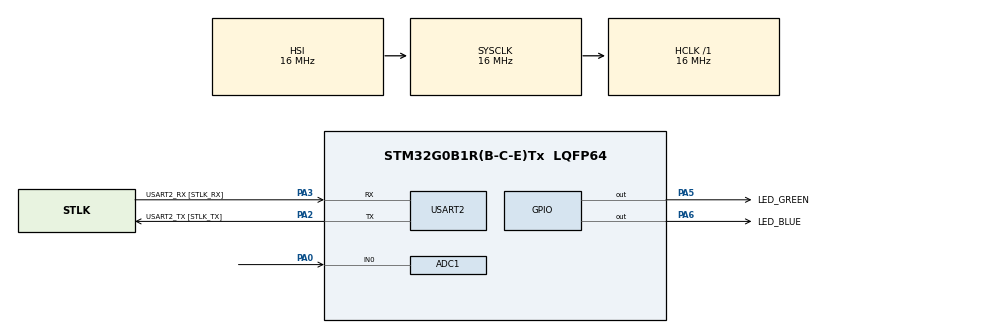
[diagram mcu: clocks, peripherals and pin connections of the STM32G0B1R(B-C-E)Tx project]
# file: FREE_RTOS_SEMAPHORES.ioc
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ADC1.Channel-0\#ChannelRegularConversion=ADC_CHANNEL_0
ADC1.ContinuousConvMode=ENABLE
ADC1.NbrOfConversionFlag=1
ADC1.Rank-0\#ChannelRegularConversion=1
ADC1.Resolution=ADC_RESOLUTION_10B
ADC1.SamplingTime-0\#ChannelRegularConversion=ADC_SAMPLINGTIME_COMMON_1
ADC1.SelectedChannel=ADC_CHANNEL_0
ADC1.master=1
FREERTOS.Tasks01=defaultTask,24,128,StartDefaultTask,Default,NULL,Dynamic,NULL,NULL
FREERTOS.configUSE_NEWLIB_REENTRANT=1
Mcu.Family=STM32G0
Mcu.Name=STM32G0B1R(B-C-E)Tx
Mcu.Package=LQFP64
NVIC.TIM1_BRK_UP_TRG_COM_IRQn=true\:3\:0\:false\:false\:true\:false\:false\:true\:true
NVIC.TimeBase=TIM1_BRK_UP_TRG_COM_IRQn
NVIC.TimeBaseIP=TIM1
PA0.Mode=IN0
PA0.Signal=ADC1_IN0
PA13.GPIO_Label=TMS
PA13.Mode=Serial_Wire
PA13.Signal=SYS_SWDIO
PA14-BOOT0.GPIO_Label=TCK
PA14-BOOT0.Mode=Serial_Wire
PA14-BOOT0.Signal=SYS_SWCLK
PA2.GPIO_Label=USART2_TX [STLK_TX]
PA2.Mode=Asynchronous
PA2.Signal=USART2_TX
PA3.GPIO_Label=USART2_RX [STLK_RX]
PA3.Mode=Asynchronous
PA3.Signal=USART2_RX
PA5.GPIO_Label=LED_GREEN
PA5.GPIO_Speed=GPIO_SPEED_FREQ_HIGH
PA5.Signal=GPIO_Output
PA6.GPIO_Label=LED_BLUE
PA6.Signal=GPIO_Output
PC13.Mode=SYS_WakeUp1
PC13.Signal=SYS_WKUP2
PC14-OSC32_IN\ (PC14).Mode=LSE-External-Oscillator
PC14-OSC32_IN\ (PC14).Signal=RCC_OSC32_IN
PC15-OSC32_OUT\ (PC15).Mode=LSE-External-Oscillator
PC15-OSC32_OUT\ (PC15).Signal=RCC_OSC32_OUT
PF0-OSC_IN\ (PF0).GPIO_Label=MCO
PF0-OSC_IN\ (PF0).Mode=HSE-External-Clock-Source
PF0-OSC_IN\ (PF0).Signal=RCC_OSC_IN
ProjectManager.HeapSize=0x200
ProjectManager.StackSize=0x400
ProjectManager.TargetToolchain=STM32CubeIDE
RCC.AHBFreq_Value=16000000
RCC.CortexFreq_Value=16000000
RCC.EXTERNAL_CLOCK_VALUE=12288000
RCC.HCLKFreq_Value=16000000
RCC.HSE_VALUE=8000000
RCC.HSI48_VALUE=48000000
RCC.HSI_VALUE=16000000
RCC.SYSCLKFreq_VALUE=16000000
RCC.USBFreq_Value=48000000
RCC.VCOOutputFreq_Value=128000000
USART2.VirtualMode-Asynchronous=VM_ASYNC
VP_FREERTOS_VS_CMSIS_V2.Mode=CMSIS_V2
VP_SYS_VS_tim1.Mode=TIM1
board=NUCLEO-G0B1RE

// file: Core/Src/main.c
/* USER CODE BEGIN Header */
/**
  ******************************************************************************
  * @file           : main.c
  * @brief          : Main program body
  ******************************************************************************
  * @attention
  *
  * Copyright (c) 2024 STMicroelectronics.
  * All rights reserved.
  *
  * This software is licensed under terms that can be found in the LICENSE file
  * in the root directory of this software component.
  * If no LICENSE file comes with this software, it is provided AS-IS.
  *
  ******************************************************************************
  */
/* USER CODE END Header */
#include "main.h"
#include "cmsis_os.h"

/* USER CODE BEGIN Includes */
#include "semphr.h"
/* USER CODE END Includes */

ADC_HandleTypeDef hadc1;

UART_HandleTypeDef huart2;

/* Definitions for defaultTask */
osThreadId_t defaultTaskHandle;
const osThreadAttr_t defaultTask_attributes = {
  .name = "defaultTask",
  .priority = (osPriority_t) osPriorityNormal,
  .stack_size = 128 * 4
};
/* USER CODE BEGIN PV */
osThreadId_t taskOneHandle;
const osThreadAttr_t taskOne_attributes = {
  .name = "TaskOne",
  .priority = (osPriority_t) osPriorityNormal,
  .stack_size = 128 * 4
};

osThreadId_t taskTwoHandle;
const osThreadAttr_t taskTwo_attributes = {
  .name = "taskTwo",
  .priority = (osPriority_t) osPriorityHigh,
  .stack_size = 128 * 4
};

/* USER CODE END PV */

void SystemClock_Config(void);
static void MX_GPIO_Init(void);
static void MX_USART2_UART_Init(void);
static void MX_ADC1_Init(void);
void StartDefaultTask(void *argument);

/* USER CODE BEGIN PFP */
void StartTaskOne(void *argument);
void StartTaskTwo(void *argument);

typedef uint32_t TaskProfiler;
TaskProfiler taskOneProfiler;
TaskProfiler taskTwoProfiler;
TaskProfiler taskDefaultProfiler;
SemaphoreHandle_t xBinarySemaphore;

/* USER CODE END PFP */

int main(void)
{

  /* MCU Configuration--------------------------------------------------------*/

  /* Reset of all peripherals, Initializes the Flash interface and the Systick. */
  HAL_Init();

  /* Configure the system clock */
  SystemClock_Config();

  /* Initialize all configured peripherals */
  MX_GPIO_Init();
  MX_USART2_UART_Init();
  MX_ADC1_Init();
  /* USER CODE BEGIN 2 */

  // create semaphore
  xBinarySemaphore = xSemaphoreCreateBinary();

  /* USER CODE END 2 */

  /* Init scheduler */
  osKernelInitialize();

  /* Create the thread(s) */
  /* creation of defaultTask */
  defaultTaskHandle = osThreadNew(StartDefaultTask, NULL, &defaultTask_attributes);

  /* USER CODE BEGIN RTOS_THREADS */
  taskOneHandle = osThreadNew(StartTaskOne, NULL, &taskOne_attributes);

//  taskTwoHandle = osThreadNew(StartTaskTwo, NULL, &taskTwo_attributes);

  /* add threads, ... */
  /* USER CODE END RTOS_THREADS */

  /* Start scheduler */
  osKernelStart();

  /* We should never get here as control is now taken by the scheduler */
  /* Infinite loop */
  while (1)
  {

  }
}

void SystemClock_Config(void)
{
  RCC_OscInitTypeDef RCC_OscInitStruct = {0};
  RCC_ClkInitTypeDef RCC_ClkInitStruct = {0};

  /** Configure the main internal regulator output voltage
  */
  HAL_PWREx_ControlVoltageScaling(PWR_REGULATOR_VOLTAGE_SCALE1);

  /** Initializes the RCC Oscillators according to the specified parameters
  * in the RCC_OscInitTypeDef structure.
  */
  RCC_OscInitStruct.OscillatorType = RCC_OSCILLATORTYPE_HSI;
  RCC_OscInitStruct.HSIState = RCC_HSI_ON;
  RCC_OscInitStruct.HSIDiv = RCC_HSI_DIV1;
  RCC_OscInitStruct.HSICalibrationValue = RCC_HSICALIBRATION_DEFAULT;
  RCC_OscInitStruct.PLL.PLLState = RCC_PLL_NONE;
  if (HAL_RCC_OscConfig(&RCC_OscInitStruct) != HAL_OK)
  {
    Error_Handler();
  }

  /** Initializes the CPU, AHB and APB buses clocks
  */
  RCC_ClkInitStruct.ClockType = RCC_CLOCKTYPE_HCLK|RCC_CLOCKTYPE_SYSCLK
                              |RCC_CLOCKTYPE_PCLK1;
  RCC_ClkInitStruct.SYSCLKSource = RCC_SYSCLKSOURCE_HSI;
  RCC_ClkInitStruct.AHBCLKDivider = RCC_SYSCLK_DIV1;
  RCC_ClkInitStruct.APB1CLKDivider = RCC_HCLK_DIV1;

  if (HAL_RCC_ClockConfig(&RCC_ClkInitStruct, FLASH_LATENCY_0) != HAL_OK)
  {
    Error_Handler();
  }
}

static void MX_ADC1_Init(void)
{

  ADC_ChannelConfTypeDef sConfig = {0};

  /** Configure the global features of the ADC (Clock, Resolution, Data Alignment and number of conversion)
  */
  hadc1.Instance = ADC1;
  hadc1.Init.ClockPrescaler = ADC_CLOCK_SYNC_PCLK_DIV2;
  hadc1.Init.Resolution = ADC_RESOLUTION_10B;
  hadc1.Init.DataAlign = ADC_DATAALIGN_RIGHT;
  hadc1.Init.ScanConvMode = ADC_SCAN_DISABLE;
  hadc1.Init.EOCSelection = ADC_EOC_SINGLE_CONV;
  hadc1.Init.LowPowerAutoWait = DISABLE;
  hadc1.Init.LowPowerAutoPowerOff = DISABLE;
  hadc1.Init.ContinuousConvMode = ENABLE;
  hadc1.Init.NbrOfConversion = 1;
  hadc1.Init.ExternalTrigConv = ADC_SOFTWARE_START;
  hadc1.Init.ExternalTrigConvEdge = ADC_EXTERNALTRIGCONVEDGE_NONE;
  hadc1.Init.DMAContinuousRequests = DISABLE;
  hadc1.Init.Overrun = ADC_OVR_DATA_PRESERVED;
  hadc1.Init.SamplingTimeCommon1 = ADC_SAMPLETIME_1CYCLE_5;
  hadc1.Init.SamplingTimeCommon2 = ADC_SAMPLETIME_1CYCLE_5;
  hadc1.Init.OversamplingMode = DISABLE;
  hadc1.Init.TriggerFrequencyMode = ADC_TRIGGER_FREQ_HIGH;
  if (HAL_ADC_Init(&hadc1) != HAL_OK)
  {
    Error_Handler();
  }

  /** Configure Regular Channel
  */
  sConfig.Channel = ADC_CHANNEL_0;
  sConfig.Rank = ADC_REGULAR_RANK_1;
  sConfig.SamplingTime = ADC_SAMPLINGTIME_COMMON_1;
  if (HAL_ADC_ConfigChannel(&hadc1, &sConfig) != HAL_OK)
  {
    Error_Handler();
  }

}

static void MX_USART2_UART_Init(void)
{

  huart2.Instance = USART2;
  huart2.Init.BaudRate = 115200;
  huart2.Init.WordLength = UART_WORDLENGTH_8B;
  huart2.Init.StopBits = UART_STOPBITS_1;
  huart2.Init.Parity = UART_PARITY_NONE;
  huart2.Init.Mode = UART_MODE_TX_RX;
  huart2.Init.HwFlowCtl = UART_HWCONTROL_NONE;
  huart2.Init.OverSampling = UART_OVERSAMPLING_16;
  huart2.Init.OneBitSampling = UART_ONE_BIT_SAMPLE_DISABLE;
  huart2.Init.ClockPrescaler = UART_PRESCALER_DIV1;
  huart2.AdvancedInit.AdvFeatureInit = UART_ADVFEATURE_NO_INIT;
  if (HAL_UART_Init(&huart2) != HAL_OK)
  {
    Error_Handler();
  }
  if (HAL_UARTEx_SetTxFifoThreshold(&huart2, UART_TXFIFO_THRESHOLD_1_8) != HAL_OK)
  {
    Error_Handler();
  }
  if (HAL_UARTEx_SetRxFifoThreshold(&huart2, UART_RXFIFO_THRESHOLD_1_8) != HAL_OK)
  {
    Error_Handler();
  }
  if (HAL_UARTEx_DisableFifoMode(&huart2) != HAL_OK)
  {
    Error_Handler();
  }

}

static void MX_GPIO_Init(void)
{
  GPIO_InitTypeDef GPIO_InitStruct = {0};

  /* GPIO Ports Clock Enable */
  __HAL_RCC_GPIOC_CLK_ENABLE();
  __HAL_RCC_GPIOF_CLK_ENABLE();
  __HAL_RCC_GPIOA_CLK_ENABLE();

  /*Configure GPIO pin Output Level */
  HAL_GPIO_WritePin(GPIOA, LED_GREEN_Pin|LED_BLUE_Pin, GPIO_PIN_RESET);

  /*Configure GPIO pin : LED_GREEN_Pin */
  GPIO_InitStruct.Pin = LED_GREEN_Pin;
  GPIO_InitStruct.Mode = GPIO_MODE_OUTPUT_PP;
  GPIO_InitStruct.Pull = GPIO_NOPULL;
  GPIO_InitStruct.Speed = GPIO_SPEED_FREQ_HIGH;
  HAL_GPIO_Init(LED_GREEN_GPIO_Port, &GPIO_InitStruct);

  /*Configure GPIO pin : LED_BLUE_Pin */
  GPIO_InitStruct.Pin = LED_BLUE_Pin;
  GPIO_InitStruct.Mode = GPIO_MODE_OUTPUT_PP;
  GPIO_InitStruct.Pull = GPIO_NOPULL;
  GPIO_InitStruct.Speed = GPIO_SPEED_FREQ_LOW;
  HAL_GPIO_Init(LED_BLUE_GPIO_Port, &GPIO_InitStruct);

}

/* USER CODE BEGIN Header_StartTaskOne */
void StartTaskOne(void * argument){

	for(;;){

		const TickType_t xDelay100ms = pdMS_TO_TICKS(10UL);

		taskOneProfiler++;
		taskTwoHandle = osThreadNew(StartTaskTwo, NULL, &taskTwo_attributes);

		vTaskDelay(xDelay100ms);

	/*	semaphore starts
	 *
		xSemaphoreTake(xBinarySemaphore, portMAX_DELAY);
		taskOneProfiler++;
		xSemaphoreGive(xBinarySemaphore);
		* semaphore ends
	*/

	}
}

/* USER CODE BEGIN Header_StartTaskTwo, with semaphores */
void StartTaskTwo(void * argument){

	for(;;){

		const TickType_t xDelay100ms = pdMS_TO_TICKS(100UL);

		taskTwoProfiler++;
		//vTaskDelete(NULL);
		vTaskDelay(xDelay100ms);

	/* semaphore starts

		xSemaphoreTake(xBinarySemaphore, portMAX_DELAY);
		taskTwoProfiler++;
		xSemaphoreGive(xBinarySemaphore);
		* semaphore ends
	*/

	}
}
/* USER CODE END 4 */

void StartDefaultTask(void *argument)
{
  /* USER CODE BEGIN 5 */
  /* Infinite loop */
  for(;;)
  {
	  taskDefaultProfiler++;
    //osDelay(1);
  }
  /* USER CODE END 5 */
}

void HAL_TIM_PeriodElapsedCallback(TIM_HandleTypeDef *htim)
{
  if (htim->Instance == TIM1) {
    HAL_IncTick();
  }
}

void Error_Handler(void)
{
  __disable_irq();
  while (1)
  {
  }
}
